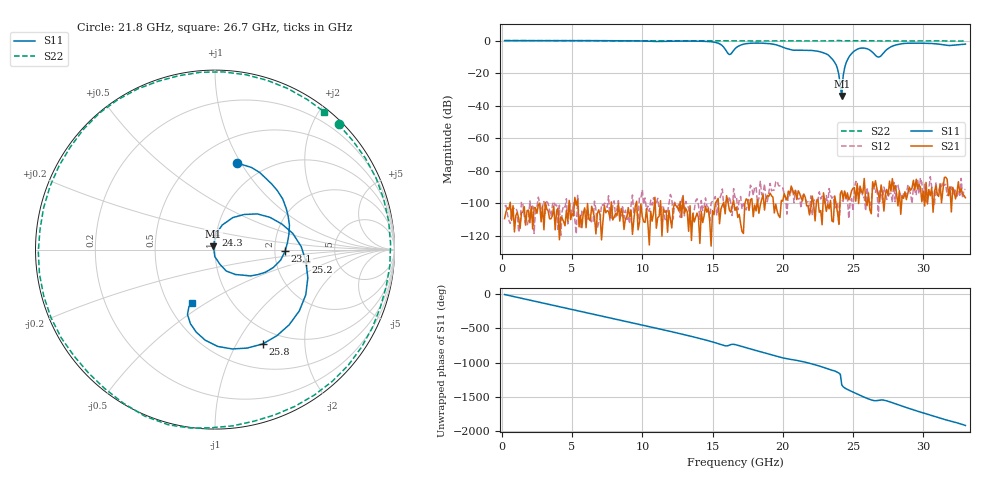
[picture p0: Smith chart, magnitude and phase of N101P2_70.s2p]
# GHZ S RI R 50
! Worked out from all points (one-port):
!   329 points, 200 MHz to 33 GHz, reference 50 ohm
!   lowest |S11| = -34.1 dB at 24.2 GHz (marker M1), VSWR 1.04, Z = 49.1 + j1.76 ohm
!   |S11| at or under -10 dB: 23.37 GHz to 24.72 GHz (1.343 GHz wide, 5.59 % of centre); 26.7601 GHz to 26.88159 GHz (121.5 MHz wide, 0.453 % of centre)
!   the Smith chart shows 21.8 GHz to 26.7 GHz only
!   S11 on the Smith chart (normalised r, x): 21.8 GHz: 0.75, +0.96; 23.1 GHz: 2.28, -0.05; 24.3 GHz: 0.99, +0.16; 25.2 GHz: 2.98, -0.55; 25.8 GHz: 0.80, -1.29; 26.7 GHz: 0.66, -0.44
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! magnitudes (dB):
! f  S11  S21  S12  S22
! 200 MHz  0.0  -109.3  -101.8  0.0
! 5.7 GHz  0.0  -114.9  -104.8  0.0
! 11.2 GHz  -0.5  -107.9  -103.5  -0.1
! 15.1 GHz  -0.9  -107.0  -97.5  -0.1
! 15.7 GHz  -3.2  -101.1  -91.1  -0.1
! 16.2 GHz  -8.6  -104.2  -95.8  -0.1
! 16.6 GHz  -5.0  -104.3  -96.4  -0.1
! 18.4 GHz  -1.5  -101.2  -86.4  -0.2
! 21.8 GHz  -6.0  -101.5  -99.0  -0.2
! 22.1 GHz  -6.1  -95.5  -107.3  -0.2
! 23.1 GHz  -8.2  -104.9  -95.2  -0.2
! 23.8 GHz  -14.9  -100.7  -101.9  0.0
! 24 GHz  -21.3  -112.9  -113.4  0.1
! 24.2 GHz  -34.1  -92.2  -98.0  -0.1
! 24.3 GHz  -21.7  -97.5  -98.7  -0.1
! 24.6 GHz  -11.9  -93.6  -96.5  -0.1
! 25.2 GHz  -5.8  -98.7  -86.5  -0.1
! 25.8 GHz  -4.6  -84.7  -96.0  -0.1
! 26.7 GHz  -9.8  -90.9  -89.8  -0.2
! 27.6 GHz  -4.3  -86.4  -93.9  -0.2
! 28.9 GHz  -1.6  -94.0  -89.0  -0.2
! 33 GHz  -2.2  -96.5  -91.4  -0.2
